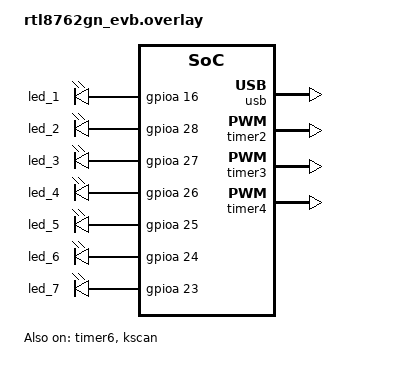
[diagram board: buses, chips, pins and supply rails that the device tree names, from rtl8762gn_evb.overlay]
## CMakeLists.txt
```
# SPDX-License-Identifier: Apache-2.0

cmake_minimum_required(VERSION 3.20.0)
find_package(Zephyr REQUIRED HINTS $ENV{ZEPHYR_BASE})
project(multimode-keyboard)

INCLUDE_DIRECTORIES(
    inc
    inc/led
    inc/usb
    inc/key
)
FILE(GLOB app_sources src/key/*.c src/usb/*.c src/led/*.c src/*.c)
target_sources(app PRIVATE ${app_sources})
```

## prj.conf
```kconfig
CONFIG_USB_DEVICE_STACK=y
CONFIG_USB_DEVICE_HID=y
CONFIG_USB_DEVICE_INITIALIZE_AT_BOOT=n
#/* USB Name Config*/
CONFIG_USB_HID_DEVICE_NAME="RTK_HID_KEYBOARD"
#/*USB Device Descriptor*/
CONFIG_USB_DEVICE_VID=0x0BDA
CONFIG_USB_DEVICE_PID=0x4762

#/*USB Config Descriptor*/
CONFIG_USB_DEVICE_REMOTE_WAKEUP=y
CONFIG_USB_SELF_POWERED=n
CONFIG_USB_MAX_POWER=250

#/*string descriptor*/
CONFIG_USB_DEVICE_MANUFACTURER="Realtek"
CONFIG_USB_DEVICE_PRODUCT="KEABOARD 8K"
CONFIG_USB_DEVICE_SN="0123456789A"
CONFIG_USB_HID_REPORTS=1

#/*Interface descriptor*/
CONFIG_USB_HID_BOOT_PROTOCOL=n

#/*endpoint descriptor*/
CONFIG_USB_HID_POLL_INTERVAL_MS=1
CONFIG_HID_INTERRUPT_EP_MPS=64

CONFIG_USB_HID_DEVICE_COUNT=1

CONFIG_LOG=y
CONFIG_USB_DRIVER_LOG_LEVEL_ERR=y
CONFIG_USB_DEVICE_LOG_LEVEL_ERR=y

CONFIG_GPIO=y
CONFIG_KSCAN=y
CONFIG_RTK_USING_SDK_LIB=y

CONFIG_COUNTER=y
CONFIG_PWM=y


CONFIG_HEAP_MEM_POOL_SIZE=1024
CONFIG_KERNEL_MEM_POOL=y
```

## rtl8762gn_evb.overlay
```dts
&gpioa {
    status = "okay";
};
&gpiob {
    status = "okay";
};
&usb {
    status = "okay";
};
&timer2 {
    status = "okay";
    prescaler = <1>;
    pwm2: pwm {
        status = "okay";
        pinctrl-0 = <&pwm2_default>;
        pinctrl-names = "default";
    };
};
&timer3 {
    status = "okay";
    prescaler = <1>;
    pwm3: pwm {
        status = "okay";
        pinctrl-0 = <&pwm3_default>;
        pinctrl-names = "default";
    };
};

&timer4 {
    status = "okay";
    prescaler = <1>;
    pwm4: pwm {
        status = "okay";
        pinctrl-0 = <&pwm4_default>;
        pinctrl-names = "default";
    };
};

&timer6 {
	status = "okay";
	prescaler = <1>;
};
&pinctrl {
	pwm2_default: pwm2_default {
		group1 {
			psels = <RTL87X2G_PSEL(TIMER_PWM2, P9_4,DIR_OUT, DRV_LOW, PULL_DOWN)>;
		};
	};
	pwm3_default: pwm3_default {
		group1 {
			psels = <RTL87X2G_PSEL(TIMER_PWM3, P9_5,DIR_OUT, DRV_LOW, PULL_DOWN)>;
		};
	};
	pwm4_default: pwm4_default {
		group1 {
			psels = <RTL87X2G_PSEL(TIMER_PWM4, P9_6,DIR_OUT, DRV_LOW, PULL_DOWN)>;
		};
	};
};
	
/ {      	
    chosen {
        zephyr,keyboard-scan = &kscan;
    };
	leds {
        compatible = "gpio-leds";
		led_1: led_1 {
            gpios = <&gpioa 16 GPIO_ACTIVE_HIGH>;
        };
		led_2: led_2 {
            gpios = <&gpioa 28 GPIO_ACTIVE_HIGH>;
        };
		led_3: led_3 {
            gpios = <&gpioa 27 GPIO_ACTIVE_HIGH>;
        };
		led_4: led_4 {
            gpios = <&gpioa 26 GPIO_ACTIVE_HIGH>;
        };
		led_5: led_5 {
            gpios = <&gpioa 25 GPIO_ACTIVE_HIGH>;
        };
		led_6: led_6 {
            gpios = <&gpioa 24 GPIO_ACTIVE_HIGH>;
        };
		led_7: led_7 {
            gpios = <&gpioa 23 GPIO_ACTIVE_HIGH>;
        };
    };
	aliases {
		led1 = &led_1;
		led2 = &led_2;
		led3 = &led_3;
		led4 = &led_4;
		led5 = &led_5;
		led6 = &led_6;
		led7 = &led_7;
		pwm1 = &pwm2;
		pwm2 = &pwm3;
		pwm3 = &pwm4;
		kscan0 = &kscan;
		check-timer = &timer6;
	};
 };

&kscan {
    pinctrl-0 = <&kscan_default>;
    pinctrl-names = "default";
    row-size = <8>;
    col-size = <18>;
    debounce-time-ms = <10>;
    scan-time-ms = <10>;
    release-time-ms = <10>;
    scan-debounce-cnt = <1>;
    status = "okay";
};

&pinctrl {
    kscan_default: kscan_default {
        group1 {
            psels = <RTL87X2G_PSEL(KEY_COL_0, P0_4, DIR_OUT, DRV_LOW, PULL_NONE)>,
            <RTL87X2G_PSEL(KEY_COL_1, P4_3, DIR_OUT, DRV_LOW, PULL_NONE)>,
			<RTL87X2G_PSEL(KEY_COL_2, P4_2, DIR_OUT, DRV_LOW, PULL_NONE)>,
			<RTL87X2G_PSEL(KEY_COL_3, P4_1, DIR_OUT, DRV_LOW, PULL_NONE)>,
			<RTL87X2G_PSEL(KEY_COL_4, P4_0, DIR_OUT, DRV_LOW, PULL_NONE)>,
			<RTL87X2G_PSEL(KEY_COL_5, P0_6, DIR_OUT, DRV_LOW, PULL_NONE)>,
			<RTL87X2G_PSEL(KEY_COL_6, P0_5, DIR_OUT, DRV_LOW, PULL_NONE)>,
			<RTL87X2G_PSEL(KEY_COL_7, P9_0, DIR_OUT, DRV_LOW, PULL_NONE)>,
			<RTL87X2G_PSEL(KEY_COL_8, P6_7, DIR_OUT, DRV_LOW, PULL_NONE)>,
			<RTL87X2G_PSEL(KEY_COL_9, P1_2, DIR_OUT, DRV_LOW, PULL_NONE)>,
			<RTL87X2G_PSEL(KEY_COL_10, P6_5, DIR_OUT, DRV_LOW, PULL_NONE)>,
			<RTL87X2G_PSEL(KEY_COL_11, P6_3, DIR_OUT, DRV_LOW, PULL_NONE)>,
			<RTL87X2G_PSEL(KEY_COL_12, P6_2, DIR_OUT, DRV_LOW, PULL_NONE)>,
			<RTL87X2G_PSEL(KEY_COL_13, P6_1, DIR_OUT, DRV_LOW, PULL_NONE)>,
			<RTL87X2G_PSEL(KEY_COL_14, P9_1, DIR_OUT, DRV_LOW, PULL_NONE)>,
			<RTL87X2G_PSEL(KEY_COL_15, P6_4, DIR_OUT, DRV_LOW, PULL_NONE)>,
			<RTL87X2G_PSEL(KEY_COL_16, P0_2, DIR_OUT, DRV_LOW, PULL_NONE)>,
			<RTL87X2G_PSEL(KEY_COL_17, P0_1, DIR_OUT, DRV_LOW, PULL_NONE)>,									
            <RTL87X2G_PSEL(KEY_ROW_0, P0_0, DIR_IN, DRV_LOW, PULL_UP)>,
            <RTL87X2G_PSEL(KEY_ROW_1, P1_7, DIR_IN, DRV_LOW, PULL_UP)>,
            <RTL87X2G_PSEL(KEY_ROW_2, P1_5, DIR_IN, DRV_LOW, PULL_UP)>,
            <RTL87X2G_PSEL(KEY_ROW_3, P3_7, DIR_IN, DRV_LOW, PULL_UP)>,			
            <RTL87X2G_PSEL(KEY_ROW_4, P3_6, DIR_IN, DRV_LOW, PULL_UP)>,
            <RTL87X2G_PSEL(KEY_ROW_5, P3_5, DIR_IN, DRV_LOW, PULL_UP)>,
            <RTL87X2G_PSEL(KEY_ROW_6, P3_4, DIR_IN, DRV_LOW, PULL_UP)>,
            <RTL87X2G_PSEL(KEY_ROW_7, P3_3, DIR_IN, DRV_LOW, PULL_UP)>;

		};
        };
};
```

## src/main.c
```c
/*
 * Copyright (c) 2018, 2023 Nordic Semiconductor ASA
 *
 * SPDX-License-Identifier: Apache-2.0
 */
#include <zephyr/kernel.h>
#include <zephyr/device.h>
#include <zephyr/drivers/gpio.h>

#include <zephyr/usb/usb_device.h>
#include <zephyr/usb/class/usb_hid.h>
#include "board.h"
#include "app_task.h"
#include "key_handle.h"
#include "usb_hid_interface_keyboard.h"

#include <zephyr/logging/log.h>
LOG_MODULE_REGISTER(main, LOG_LEVEL_INF);

int main(void)
{
	/* led init */
	led_pad_config();
	led_module_init();
	/* app global data init */
	app_global_data_init();
	/* usb init */
	usb_hid_keyboard_driver_init();
	/* keyscan init */
	key_handle_init_data();
	key_handle_init_config();
	key_handle_init_timer();

	/* app task init */
	os_zephyr_patch_init();
	app_task_init();
	
	k_yield();

	return 0;
}
/** @} */ /* End of group PERIPH_DEMO_MAIN */
```

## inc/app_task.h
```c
/*
 * Copyright (c) 2024 Realtek Semiconductor 
 *
 * SPDX-License-Identifier: Apache-2.0
 */
#ifndef _APP_TASK_H_
#define _APP_TASK_H_

#include <zephyr/kernel.h>
#include "key_handle.h"

typedef enum
{
    NO_TRANS_MODE = 0x00,
    PPT_2_4G = 0x01,
    BLE_MODE = 0x02,
    USB_MODE = 0x03,
    MP_TEST_MODE = 0x04,
} T_MODE_TYPE;

typedef enum
{
    HID_REPORT_KEYBOARD = 0x00,
    HID_REPORT_CONSUMER = 0x01,
    HID_REPORT_VENDOR = 0x02,
} T_KEYBOARD_REPORT_TYPE;

typedef struct
{
    T_KEYBOARD_REPORT_TYPE hid_report_type;
    uint8_t keyboard_common_data[KEYBOARD_DATA_SIZE];       /*common key, send by HID_REPORT_KEYBOARD */
    uint8_t keyboard_consumer_data[CONSUMER_DATA_SIZE];        /*fn combine key, send by HID_REPORT_CONSUMER*/
    uint8_t keyboard_vendor_data[VENDOR_DATA_SIZE];      /*vendor key, send by HID_REPORT_VENDOR */
} T_KEYBOARD_DATA;

typedef struct t_app_global_data
{
    bool is_usb_enumeration_success;
    bool is_usb_working;  /* to indicate whether usb translation is normal working or not */
    bool is_ble_link_key_existed;  /* to indicate whether link key is existed or not */
    uint8_t direct_adv_cnt;  /* to indicate the count of high duty adv */
    uint8_t updt_conn_params_retry_cnt;  /* to indicate the update conneciton parameters retry count */
    uint8_t keyboard_con_id;  /* to indicate the conntion id */
    uint8_t mtu_size;  /* to indicate the current mtu size */
    uint8_t pair_failed_retry_cnt;  /* to indicate the retry cnt for pair failed scenario */
    // T_SERVER_ID hid_srv_id;  /* to indicate the service id for HID */
    // T_SERVER_ID bas_srv_id;  /* to indicate the service id for BAS */
    // T_SERVER_ID dis_srv_id;  /* to indicate the service id for DIS */
    // T_GAP_DEV_STATE gap_dev_state;  /* to indicate the current GAP device state */
    // T_GAP_CONN_STATE gap_conn_state;  /* to indicate the current GAP connection state */
    // T_KEYBOARD_BLE_STATUS
    // keyboard_ble_status;  /* to indicate the current status of KEYBOARD state machine */
    T_MODE_TYPE mode_type; /* to indicate the current mode */
    // T_CHARGE_MODE_TYPE charge_mode;  /* to indicate the current charging mode */
    // T_ADV_TYPE adv_type;  /* to indicate the current advertising type */
    // T_STOP_ADV_REASON stop_adv_reason;  /* to indicate the reason of stop advertising */
    // T_DISCONN_REASON disconn_reason;  /* to indicate the reason of disconnec  */
    // T_BATTERY_STATUS battery_status;  /* to indicate the status of battery information */
    // T_latency_status latency_status;  /* to indicate KEYBOARD app latency status */
    uint16_t conn_interval;  /* to indicate KEYBOARD connect interval */
    uint16_t conn_latency;  /* to indicate KEYBOARD connect latency */
    uint16_t conn_supervision_timeout; /* to indicate KEYBOARD supervision time out */
// #if (FEATURE_SUPPORT_REMOVE_LINK_KEY_BEFORE_PAIRING && FEATURE_SUPPORT_RECOVER_PAIR_INFO)
//     uint16_t bond_info_length;  /* to indicate the length of the bond information */
//     uint8_t *p_last_bond_info;  /* to indicate the last bond information */
// #endif
    T_KEYBOARD_DATA keyboard_data;
// #if (FEATURE_MAC_ADDR_TYPE == FEATURE_SUPPORT_SINGLE_LOCAL_STATIC_ADDR) || (FEATURE_MAC_ADDR_TYPE == FEATURE_SUPPORT_MULTIPLE_LOCAL_STATIC_ADDR)
//     uint8_t static_random_addr[6];  /* to indicate the current static random address */
// #endif
// #if (FEATURE_MAC_ADDR_TYPE == FEATURE_SUPPORT_SINGLE_LOCAL_STATIC_ADDR)
//     uint8_t last_static_random_addr[8];  /* to indicate the last static random address */
// #elif (FEATURE_MAC_ADDR_TYPE == FEATURE_SUPPORT_MULTIPLE_LOCAL_STATIC_ADDR)
//     uint32_t static_random_addr_index;  /* to indicate the current static random address index */
// #endif
    uint32_t usb_report_rate_index;
    uint32_t ppt_report_rate_index;
} T_APP_GLOBAL_DATA;

extern T_APP_GLOBAL_DATA app_global_data;

void app_global_data_init(void);

#endif
```

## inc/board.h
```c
/*
 * Copyright (c) 2024 Realtek Semiconductor 
 *
 * SPDX-License-Identifier: Apache-2.0
 */
#ifndef _BOARD_H_
#define _BOARD_H_

/*******************************************************
*                 Button Config
*******************************************************/
#define SUPPORT_KEYSCAN_FEATURE     1
/* if set KEYSCAN_FIFO_LIMIT larger than 3, need to caution ghost key issue */
#if SUPPORT_KEYSCAN_FEATURE
#define KEYBOARD_KEYSCAN_AUTO_SCAN         1
#define KEYBOARD_KEYSCAN_MANUAL_SCAN       2
#define KEYBOARD_KEYSCAN_SEL               KEYBOARD_KEYSCAN_MANUAL_SCAN

#define SHOW_DEMO                   0   /*different fn comb program*/

#define KEYSCAN_FIFO_LIMIT    3  /* value range from 1 to 8 */

#define KEYPAD_ROW_SIZE       4
#define KEYPAD_COLUMN_SIZE    4

#define ROW0                  P2_6
#define ROW1                  P2_5
#define ROW2                  P3_4
#define ROW3                  P3_3

#define COLUMN0               P4_2
#define COLUMN1               P4_1
#define COLUMN2               P4_0
#define COLUMN3               P4_3
#endif
/*******************************************************
*                 LED Config
*******************************************************/
#define LED_DEBUG                       1
#define SUPPORT_LED_INDICATION_FEATURE  1
#define LED_FOR_TEST                    0

#if SUPPORT_LED_INDICATION_FEATURE
#define LED_0                           1

#define LED_1                           MICBIAS//GPIOA_16, white
#define LED_2                           P2_7//GPIOA_28,white
#define LED_3                           P2_6 //GPIOA_27,blue
#define LED_4                           P2_5 //GPIOA_26,green
#define LED_5                           P2_4 //GPIOA_25,R
#define LED_6                           P2_3 //GPIOA_24,G
#define LED_7                           P9_3 //GPIOA_23,B

#define LED_NUM_MAX                     2
#define LED_GPIO_CTL_NUM                4 /* start from LED_1 , range from 0 to 32*/
#define LED_GPIO_CTL_PWM_NUM            1
#define LED_HW_TIM_PWM_CTL_NUM          1 /* can only be 0 or 1 */
#define LED_HW_TIM_PWM_CTL_INDEX        LED_0 /* must follow gpio register control led index */

#define LED_EN_PIN                      P10_0 //GPIOB_29, power on(ctrl led1-7)

#define LED0_R_PIN                      P9_4 //GPIOB_25
#define LED0_G_PIN                      P9_5 //GPIOB_26
#define LED0_B_PIN                      P9_6 //GPIOB_27

// #define LED2_R_PIN                      P1_0
// #define LED2_G_PIN                      P1_1
// #define LED2_B_PIN                      P3_5
/* voltage level to trigger LED On action */
#define LED_ON_LEVEL_HIGH               0
#define LED_ON_LEVEL_LOW                1

#define LED_ON_LEVEL_TRIG               LED_ON_LEVEL_LOW

#endif

/**led config*/
#define SHOW_DEMO       0
#define FEAUTRE_SUPPORT_VENDOR_SHORTCUT_KEY     0

/* keyscan */
#define FEAUTRE_SUPPORT_VENDOR_SHORTCUT_KEY 0

#endif
```

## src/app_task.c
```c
/*
 * Copyright (c) 2024 Realtek Semiconductor 
 *
 * SPDX-License-Identifier: Apache-2.0
 */
#include <zephyr/kernel.h>
#include <zephyr/arch/cpu.h>
#include "app_task.h"
#include "string.h"
#include "zephyr/logging/log.h"
#include "trace.h"
#include "app_msg.h"
#include "osif_zephyr.h"

LOG_MODULE_REGISTER(app_task, LOG_LEVEL_INF);

/** @defgroup  PERIPH_APP_TASK Peripheral App Task
    * @brief This file handles the implementation of application task related functions.
    *
    * Create App task and handle events & messages
    * @{
    */
/*============================================================================*
 *                              Macros
 *============================================================================*/
#define APP_TASK_PRIORITY             1         //!< Task priorities
#define APP_TASK_STACK_SIZE           512 * 4   //!<  Task stack size
#define MAX_NUMBER_OF_GAP_MESSAGE     0x20      //!<  GAP message queue size
#define MAX_NUMBER_OF_IO_MESSAGE      0x20      //!<  IO message queue size
#define MAX_NUMBER_OF_EVENT_MESSAGE   (MAX_NUMBER_OF_GAP_MESSAGE + MAX_NUMBER_OF_IO_MESSAGE)   //!< Event message queue size

void *app_task_handle;   //!< APP Task handle
void *evt_queue_handle;  //!< Event queue handle
void *io_queue_handle;   //!< IO queue handle

T_APP_GLOBAL_DATA app_global_data = {0};
struct k_msgq io_queue;
char io_queue_buf[MAX_NUMBER_OF_IO_MESSAGE*sizeof(T_IO_MSG)];
struct k_msgq evt_queue;
char evt_queue_buf[MAX_NUMBER_OF_GAP_MESSAGE*sizeof(T_IO_MSG)];
struct k_thread my_thread_data;

K_THREAD_STACK_DEFINE(my_stack_area, APP_TASK_STACK_SIZE);

static void app_main_task(void *,void *,void *);
bool app_send_msg_to_apptask(T_IO_MSG *p_msg);

void app_main_task(void *,void *, void *)
{
    DBG_DIRECT("app_main_task START");
    k_msgq_init(&io_queue, io_queue_buf, sizeof(T_IO_MSG),MAX_NUMBER_OF_IO_MESSAGE);
    k_msgq_init(&evt_queue, evt_queue_buf, sizeof(T_IO_MSG),MAX_NUMBER_OF_GAP_MESSAGE);
    uint8_t event;
 
    // k_msgq_init(&io_queue, io_queue_buf, sizeof(T_IO_MSG),MAX_NUMBER_OF_IO_MESSAGE);
    // k_msgq_init(&evt_queue, evt_queue_buf, sizeof(T_IO_MSG),MAX_NUMBER_OF_GAP_MESSAGE);

    if(app_global_data.mode_type == USB_MODE)
    {
        //usb_start();
    }
    while(true)
    {
        if (k_msgq_get(&evt_queue, &event, K_NO_WAIT) == 0)
        {
            if (event == EVENT_IO_TO_APP)
            {
                T_IO_MSG io_msg;
                if (k_msgq_get(&io_queue, &io_msg, K_NO_WAIT) == 0)
                {
                    app_handle_io_msg(io_msg);
                }
            }
            else
            {
                //gap_handle_msg(event);
            }
        }
    }
}

void app_task_init(void)
{
    k_thread_create(&my_thread_data, my_stack_area,
                    K_THREAD_STACK_SIZEOF(my_stack_area),
                    app_main_task,
                    NULL, NULL, NULL,
                    CONFIG_ZEPHYR_PRI_MAX-APP_TASK_PRIORITY, 0, K_NO_WAIT);
}
void app_global_data_init(void)
{
    DBG_DIRECT("app_global_data_init");
    memset(&app_global_data, 0, sizeof(T_APP_GLOBAL_DATA));
    app_global_data.mode_type = USB_MODE;
}
/******************************************************************
 * @brief  send message to app task
 * @param  p_msg - point to message
 * @retval void
 */
bool app_send_msg_to_apptask(T_IO_MSG *p_msg)
{
    uint8_t event = EVENT_IO_TO_APP;

    int ret = k_msgq_put(&io_queue,p_msg,K_NO_WAIT);
    if(ret != 0)
    {
        DBG_DIRECT("send io msg to app fail (err %d)",ret);
    }
    ret = k_msgq_put(&evt_queue, &event, K_NO_WAIT);
    if(ret != 0)
    {
        DBG_DIRECT("send event msg to app fail (err %d)",ret);
        return false;
    }

    return true;
}
void app_handle_io_msg(T_IO_MSG io_msg)
{
    if (app_global_data.mode_type == BLE_MODE)
    {
        //app_handle_ble_io_msg(io_msg);
    }
    else if (app_global_data.mode_type == PPT_2_4G)
    {
        //app_handle_ppt_io_msg(io_msg);
    }
    else if (app_global_data.mode_type == USB_MODE)
    {
        app_handle_usb_io_msg(io_msg);
    }
    else/*app in no trans mode*/
    {
       // app_handle_no_trans_io_msg(io_msg);
    }
}
void app_handle_usb_io_msg(T_IO_MSG io_msg)
{
    uint16_t msg_type = io_msg.type;
    switch (msg_type)
    {
        case IO_MSG_TYPE_KEYSCAN:
        {
            keyscan_msg_handle(io_msg);
            //to do
        }
        break;
        default:
        break;
    }
}
void keyscan_msg_handle(T_IO_MSG io_msg)
{
    DBG_DIRECT("keyscan_msg_handle");
}
```
